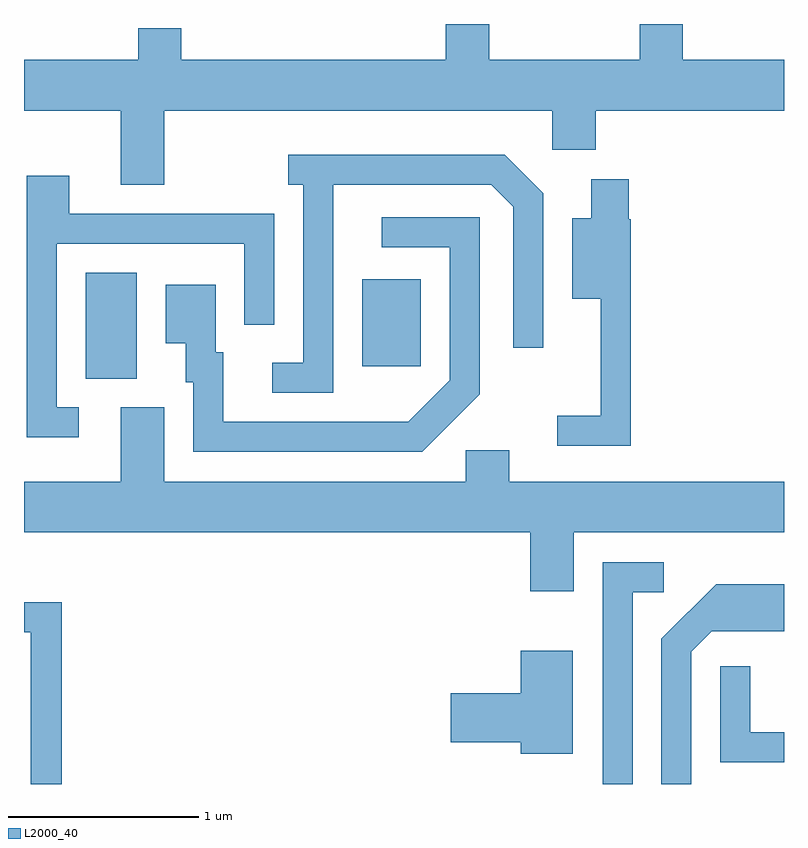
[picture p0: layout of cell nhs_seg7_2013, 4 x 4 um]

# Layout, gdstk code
import gdstk
lib = gdstk.Library(unit=1e-6, precision=1e-09)
def R(c, l, rs):  # rectangles x0, y0, x1, y1
    for r in rs: c.add(gdstk.rectangle(r[:2], r[2:], *l))
def P(c, l, *ps):  # polygons
    for p in ps: c.add(gdstk.Polygon(p, *l))
L2000_40 = (2000, 40)

nhs_seg7_2013 = lib.new_cell('nhs_seg7_2013')
R(nhs_seg7_2013, L2000_40, [(245.936,1788.386,246.204,1788.944), (247.391,1788.451,247.699,1788.909)])
P(nhs_seg7_2013, L2000_40, [(246.349,1789.796),(248.391,1789.796),(248.391,1789.591),(248.619,1789.591),(248.619,1789.796),(249.611,1789.796),(249.611,1790.064),(249.079,1790.064),(249.079,1790.252),(248.851,1790.252),(248.851,1790.064),(248.059,1790.064),(248.059,1790.252),(247.831,1790.252),(247.831,1790.064),(246.439,1790.064),(246.439,1790.229),(246.211,1790.229),(246.211,1790.064),(245.611,1790.064),(245.611,1789.796),(246.121,1789.796),(246.121,1789.406),(246.349,1789.406)],
  [(247.239,1789.406),(248.069,1789.406),(248.186,1789.289),(248.186,1788.548),(248.344,1788.548),(248.344,1789.362),(248.142,1789.564),(247.003,1789.564),(247.003,1789.406),(247.081,1789.406),(247.081,1788.469),(246.918,1788.469),(246.918,1788.311),(247.239,1788.311)],
  [(245.898,1788.234),(245.784,1788.234),(245.784,1789.096),(246.771,1789.096),(246.771,1788.668),(246.929,1788.668),(246.929,1789.254),(245.849,1789.254),(245.849,1789.454),(245.626,1789.454),(245.626,1788.076),(245.898,1788.076)],
  [(248.804,1789.225),(248.794,1789.225),(248.794,1789.434),(248.596,1789.434),(248.596,1789.229),(248.496,1789.229),(248.496,1788.806),(248.646,1788.806),(248.646,1788.189),(248.418,1788.189),(248.418,1788.031),(248.804,1788.031)],
  [(248.009,1788.304),(248.009,1789.234),(247.493,1789.234),(247.493,1789.076),(247.851,1789.076),(247.851,1788.377),(247.634,1788.159),(246.659,1788.159),(246.659,1788.524),(246.619,1788.524),(246.619,1788.879),(246.356,1788.879),(246.356,1788.571),(246.461,1788.571),(246.461,1788.366),(246.501,1788.366),(246.501,1788.001),(247.707,1788.001)],
  [(248.504,1787.576),(249.611,1787.576),(249.611,1787.844),(248.164,1787.844),(248.164,1788.009),(247.936,1788.009),(247.936,1787.844),(246.349,1787.844),(246.349,1788.234),(246.121,1788.234),(246.121,1787.844),(245.611,1787.844),(245.611,1787.576),(248.276,1787.576),(248.276,1787.266),(248.504,1787.266)],
  [(248.814,1787.261),(248.978,1787.261),(248.978,1787.419),(248.656,1787.419),(248.656,1786.252),(248.814,1786.252)],
  [(249.124,1786.949),(249.232,1787.056),(249.611,1787.056),(249.611,1787.304),(249.254,1787.304),(248.966,1787.017),(248.966,1786.252),(249.124,1786.252)],
  [(245.809,1787.209),(245.611,1787.209),(245.611,1787.051),(245.646,1787.051),(245.646,1786.252),(245.809,1786.252)],
  [(248.499,1786.954),(248.226,1786.954),(248.226,1786.729),(247.856,1786.729),(247.856,1786.471),(248.226,1786.471),(248.226,1786.411),(248.499,1786.411)],
  [(249.611,1786.524),(249.434,1786.524),(249.434,1786.873),(249.276,1786.873),(249.276,1786.366),(249.611,1786.366)])

lib.write_gds('nhs_seg7_2013.gds')
